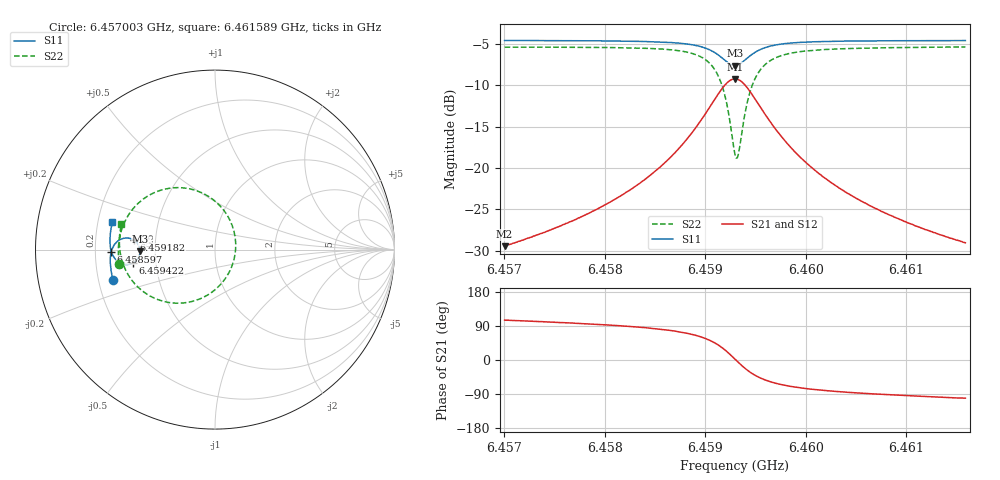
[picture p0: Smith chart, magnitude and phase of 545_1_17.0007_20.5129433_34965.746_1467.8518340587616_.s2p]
#  HZ  S  RI  R  50.00
! Rohde & Schwarz Vector Network Analyzer
! Rohde-Schwarz,ZNB20-2Port,1311601062101988,3.16
! Created: UTC 3/20/2024, 11:16:28 PM
! freq[Hz]  re:S11  im:S11  re:S21  im:S21  re:S12  im:S12  re:S22  im:S22
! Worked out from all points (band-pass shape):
!   401 points, 6.457003 GHz to 6.461589 GHz, reference 50 ohm
!   highest |S21| = -9.20 dB at 6.459296 GHz (marker M1); lowest = -29.5 dB at 6.457003 GHz (marker M2)
!   |S21| within 3 dB of the highest: 6.459067 GHz to 6.459526 GHz (459.1 kHz wide, 0.00711 % of centre)
!   lowest |S11| = -7.6 dB at 6.459296 GHz (marker M3), VSWR 2.43, Z = 20.5 - j0.452 ohm
!   |S11| at or under -10 dB: nowhere
!   |S22| runs from -18.8 to -5.3 dB; largest |S21 - S12| = 0.014
!   S11 on the Smith chart (normalised r, x): 6.457003 GHz: 0.26, -0.14; 6.458597 GHz: 0.27, -0.01; 6.459182 GHz: 0.37, +0.05; 6.459422 GHz: 0.37, -0.07; 6.461589 GHz: 0.26, +0.12
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6.4570032e9  -0.5672 -0.1703  -0.00882 0.0325  -0.00695 0.0326  -0.5334 -0.0825
6.4577714e9  -0.581 -0.103  -0.00545 0.0506  -0.00296 0.05  -0.5383 0.00767
6.4581727e9  -0.5838 -0.063  9.53e-05 0.0688  0.00327 0.0674  -0.5307 0.0709
6.4585395e9  -0.5798 -0.0192  0.0146 0.099  0.0187 0.0963  -0.5041 0.153
6.4585969e9  -0.578 -0.0114  0.0189 0.1059  0.023 0.1029  -0.4958 0.1696
6.4588032e9  -0.5648 0.0207  0.0465 0.1384  0.0507 0.1335  -0.4437 0.2423
6.4589523e9  -0.5421 0.047  0.0922 0.169  0.0953 0.1622  -0.3596 0.3068
6.4590899e9  -0.4981 0.0644  0.1797 0.1852  0.1806 0.1779  -0.1996 0.3452
6.4591816e9  -0.4535 0.0542  0.2698 0.1537  0.27 0.1478  -0.0324 0.294
6.4592504e9  -0.4244 0.0221  0.3304 0.0816  0.3325 0.0762  0.0832 0.1637
6.4592963e9  -0.4175 -0.00908  0.3465 0.0134  0.3504 0.00633  0.1153 0.036
6.4593077e9  -0.4179 -0.0172  0.3465 -0.00453  0.3503 -0.0122  0.1149 0.00226
6.4593306e9  -0.4215 -0.033  0.3408 -0.0394  0.3447 -0.0485  0.1036 -0.064
6.4593765e9  -0.4372 -0.059  0.312 -0.0993  0.3143 -0.1114  0.0454 -0.1777
6.4594224e9  -0.4592 -0.0754  0.2697 -0.1405  0.2689 -0.1538  -0.0404 -0.2527
6.4595141e9  -0.5029 -0.0823  0.1845 -0.1716  0.1782 -0.1831  -0.2105 -0.2987
6.4596631e9  -0.5467 -0.0617  0.0962 -0.1576  0.0877 -0.1637  -0.3788 -0.2483
6.4598237e9  -0.5683 -0.0339  0.0511 -0.1293  0.0436 -0.1322  -0.4595 -0.1756
6.4600644e9  -0.581 0.00169  0.0222 -0.0977  0.0163 -0.0983  -0.5074 -0.0928
6.4603969e9  -0.5855 0.0413  0.00645 -0.0713  0.00229 -0.0709  -0.5284 -0.0154
6.4608326e9  -0.5834 0.0853  -0.00154 -0.052  -0.00444 -0.0512  -0.5327 0.055
6.4615893e9  -0.5712 0.1524  -0.00656 -0.0347  -0.00831 -0.0337  -0.5212 0.1447
